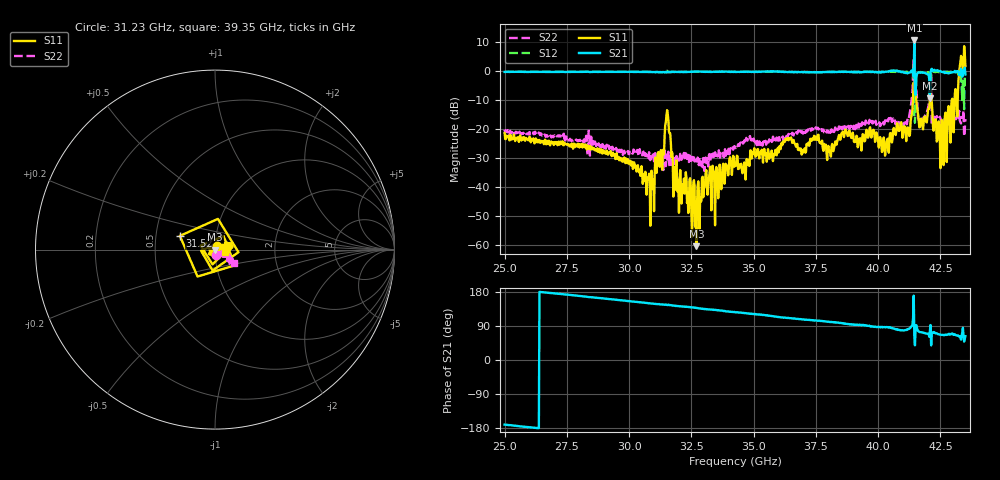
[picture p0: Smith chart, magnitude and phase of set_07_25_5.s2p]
!Keysight Technologies,N5224A,MY55441802,A.10.65.16
!Date: Tuesday, March 03, 2026 16:42:36
!Correction: S11(Full 2 Port(1,2))
!S21(Full 2 Port(1,2))
!S12(Full 2 Port(1,2))
!S22(Full 2 Port(1,2))
!S2P File: Measurements: S11, S21, S12, S22:
# Hz S  dB  R 50
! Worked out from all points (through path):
!   741 points, 25 GHz to 43.5 GHz, reference 50 ohm
!   highest |S21| = 10.45 dB at 41.45 GHz (marker M1); lowest = -9.5 dB at 42.08 GHz (marker M2)
!   lowest |S11| = -60.4 dB at 32.7 GHz (marker M3), VSWR 1.00, Z = 50.1 - j0.0384 ohm
!   |S11| at or under -10 dB: start of sweep to 41.39 GHz; 41.53 GHz to 42.07 GHz (546.8 MHz wide, 1.31 % of centre); 42.14 GHz to 42.96 GHz (821 MHz wide, 1.93 % of centre)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
!   |S22| runs from -34.5 to 5.5 dB; largest |S21 - S12| = 3.2
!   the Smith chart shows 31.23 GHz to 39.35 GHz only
!   S11 on the Smith chart (normalised r, x): 31.23 GHz: 1.02, +0.04; 31.52 GHz: 0.67, +0.11; 39.35 GHz: 1.12, -0.03
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2.5e10  -21.38 -78.0  -0.39 -170.5  -0.39 -170.2  -20.26 -87.9
2.81e10  -25.19 -104.6  -0.38 168.4  -0.35 168.6  -23.83 -100.1
3.0925e10  -40.58 -90.1  -0.45 148.7  -0.39 149.0  -29.47 -90.8
3.1175e10  -27.96 -110.1  -0.49 147.4  -0.40 147.6  -28.28 -85.2
3.1225e10  -33.01 60.8  -0.43 147.1  -0.43 147.1  -30.47 -75.2
3.1525e10  -13.55 158.6  -0.47 145.0  0.01 145.6  -30.13 -59.2
3.1925e10  -37.72 -15.4  -0.37 142.5  -0.37 142.9  -30.64 -61.5
3.27e10  -60.36 -23.5  -0.25 137.4  -0.28 137.4  -30.91 -35.6
3.425e10  -32.32 44.2  -0.33 126.0  -0.30 126.1  -26.20 -17.0
3.735e10  -23.33 1.4  -0.49 105.0  -0.45 104.7  -19.90 -30.9
3.935e10  -24.48 -14.8  -0.42 92.6  -0.26 91.4  -17.74 -33.8
4.0425e10  -28.17 -40.0  -0.13 86.6  -0.20 83.7  -16.30 -39.6
4.115e10  -21.23 -21.2  -0.75 79.3  -0.26 79.2  -18.41 -45.6
4.1375e10  -13.37 3.7  0.02 93.5  -0.29 88.6  -6.89 -30.6
4.145e10  -5.64 79.8  10.45 63.1  -14.70 37.7  5.55 -101.3
4.1675e10  -19.29 -60.0  -0.59 73.6  -0.43 76.1  -18.17 -29.3
4.2075e10  -9.84 -120.4  -9.51 75.9  -4.54 51.3  -1.56 -54.3
4.2225e10  -20.63 -33.7  0.20 73.7  -0.25 70.2  -17.73 -47.2
4.255e10  -16.91 -49.8  -0.38 66.4  -0.33 68.4  -17.04 -46.1
4.3225e10  -2.91 -84.7  -0.24 63.3  -1.47 49.5  -15.97 -53.7
4.34e10  -0.87 -77.5  -0.86 85.1  -2.88 100.2  -15.99 55.8
4.35e10  1.65 -57.4  -1.27 62.8  -2.81 48.5  -16.60 -57.8
